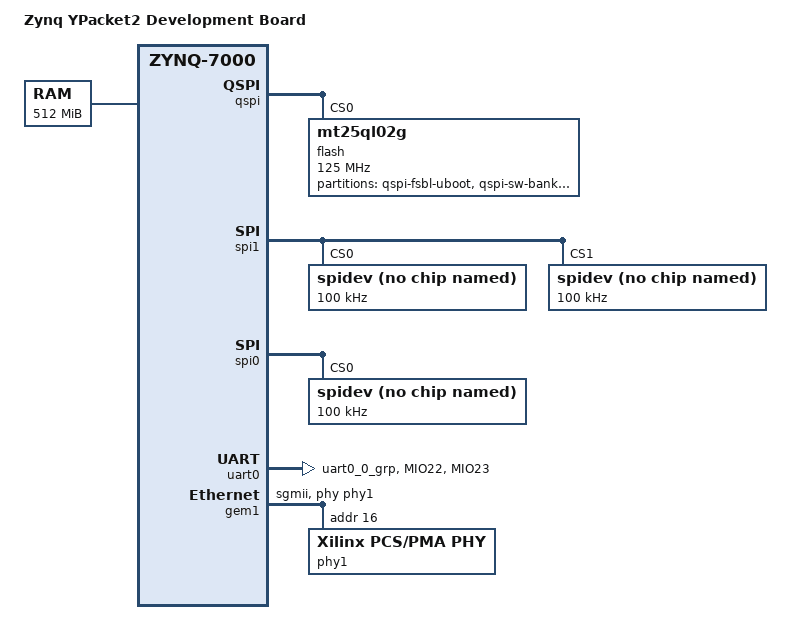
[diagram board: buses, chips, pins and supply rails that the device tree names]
/*
 * Digilent YPACKET2 board DTS
 *
 *  Copyright (C) 2011 - 2015 Xilinx
 *  Copyright (C) 2012 National Instruments Corp.
 *
 * SPDX-License-Identifier:	GPL-2.0+
 */
/dts-v1/;
#include "zynq-7000.dtsi"

/ {
	model = "Zynq YPacket2 Development Board";
	compatible = "xlnx,zynq-zc706", "xlnx,zynq-7000";

	aliases {
		serial0 = &uart0;
		spi5 = &qspi;
        spi0 = &spi0;
        spi1 = &spi1;
		ethernet0 = &gem1;
	};

	memory {
		device_type = "memory";
		reg = <0x0 0x20000000>;
	};

	chosen {
		bootargs = "earlyprintk";
		linux,stdout-path = &uart0;
		stdout-path = &uart0;
	};

};

&clkc {
	ps-clk-frequency = <50000000>;
};


&qspi {
	status = "okay";
	is-dual = <0>;
	num-cs = <1>;
	flash@0 {
		compatible = "mt25ql02g";
		reg = <0x0>;
		spi-tx-bus-width = <1>;
		spi-rx-bus-width = <4>;
		spi-max-frequency = <125000000>;
		#address-cells = <1>;
		#size-cells = <1>;
		partition@qspi-fsbl-uboot {
			label = "qspi-fsbl-uboot";
			reg = <0x0 0x1000000>;
		};
		partition@qspi-sw-bank0 {
			label = "qspi-sw-bank0";
			reg = <0x1000000 0x6000000>;
		};
		partition@qspi-sw-bank1 {
			label = "qspi-sw-bank1";
			reg = <0x7000000 0x6000000>;
		};
		partition@qspi-jffs2 {
			label = "qspi-fs";
			reg = <0xd000000 0x3000000>;
		};
	};
};

&spi1 {

    status = "okay";

	#address-cells = <1>;
	#size-cells = <0>;
	num-cs = <2>;
	is-decoded-cs = <0>;
	spi-max-frequency = <166666700>;

	spidev@0{
		compatible="spidev";
		reg =<0>; //chipselect 0
		spi-max-frequency= <100000>;
	};
	spidev@1{
		compatible="spidev";
		reg =<1>; //chipselect 1
		spi-max-frequency= <100000>;
	};

};

&spi0 {

    status = "okay";

	#address-cells = <1>;
	#size-cells = <0>;
	num-cs = <1>;
	is-decoded-cs = <0>;
	spidev@0{
		compatible="spidev";
		reg =<0>; //chipselect 0
		spi-max-frequency= <100000>;
	};
};

&pinctrl0 {
	pinctrl_uart0_default: uart0-default {
		mux {
			groups = "uart0_0_grp";
			function = "uart0";
		};

		conf {
			groups = "uart0_0_grp";
			slew-rate = <0>;
			io-standard = <1>;
		};

		conf-rx {
			pins = "MIO22";
			bias-high-impedance;
		};

		conf-tx {
			pins = "MIO23";
			bias-disable;
		};
	};
};

&uart0 {
	status = "okay";
	pinctrl-names = "default";
	pinctrl-0 = <&pinctrl_uart0_default>;
};

&gem1 {
	status = "okay";
    phy-mode = "sgmii";

    phy-handle = <&phy1>;

    phy1: phy@16 {
                compatible = "Xilinx PCS/PMA PHY";
                device_type = "ethernet-phy";
                reg = <16>;
    };

};


